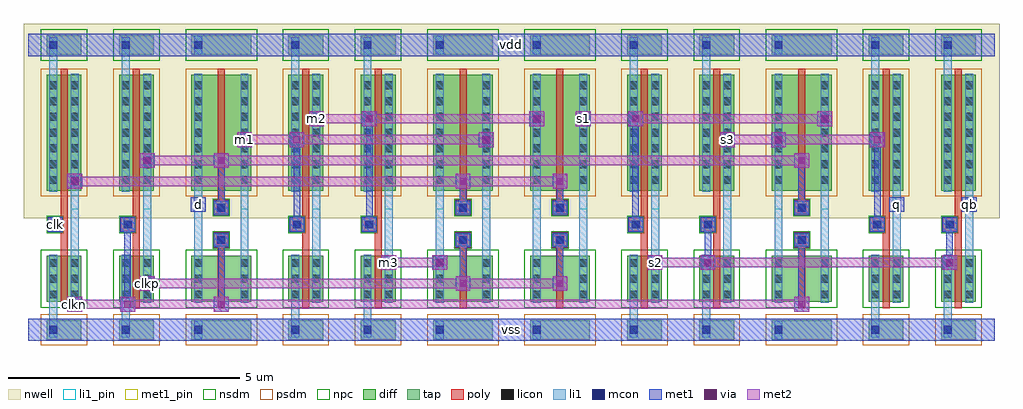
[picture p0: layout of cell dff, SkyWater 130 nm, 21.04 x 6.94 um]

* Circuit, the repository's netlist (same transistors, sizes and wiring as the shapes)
* NGSPICE file created from dff.ext - technology: sky130A

.subckt tgate x y en en_b vdd vss
X0 y en x vss sky130_fd_pr__nfet_01v8 ad=0.57 pd=3.14 as=0.57 ps=3.14 w=1 l=0.15
X1 y en_b x vdd sky130_fd_pr__pfet_01v8 ad=1.425 pd=6.14 as=1.425 ps=6.14 w=2.5 l=0.15
.ends

.subckt inv in out vdd vss
X0 out in vdd vdd sky130_fd_pr__pfet_01v8 ad=0.75 pd=5.6 as=0.75 ps=5.6 w=2.5 l=0.15
X1 out in vss vss sky130_fd_pr__nfet_01v8 ad=0.3 pd=2.6 as=0.3 ps=2.6 w=1 l=0.15
.ends

.subckt dff clk d q qb vdd vss
XXtg1 d m1 clkn clkp vdd vss tgate
XXtg2 m3 m1 clkp clkn vdd vss tgate
XXtg4 s3 s1 clkn clkp vdd vss tgate
XXtg3 m2 s1 clkp clkn vdd vss tgate
XXo1 s3 q vdd vss inv
XXo2 s2 qb vdd vss inv
XXi1 m1 m2 vdd vss inv
XXi2 m2 m3 vdd vss inv
XXi3 s1 s2 vdd vss inv
XXi4 s2 s3 vdd vss inv
XXc1 clk clkn vdd vss inv
XXc2 clkn clkp vdd vss inv
.ends

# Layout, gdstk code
import gdstk
lib = gdstk.Library(unit=1e-6, precision=1e-09)
def R(c, l, rs):  # rectangles x0, y0, x1, y1
    for r in rs: c.add(gdstk.rectangle(r[:2], r[2:], *l))
def A(c, l, x, y, w, h, nx, ny, dx, dy):  # array of equal rectangles
    R(c, l, [(x+i*dx, y+j*dy, x+i*dx+w, y+j*dy+h) for i in range(nx) for j in range(ny)])
nwell = (64, 20)
diff = (65, 20)
tap = (65, 44)
poly = (66, 20)
licon = (66, 44)
li1_pin = (67, 16)
li1 = (67, 20)
mcon = (67, 44)
met1_pin = (68, 16)
met1 = (68, 20)
via = (68, 44)
met2 = (69, 20)
nsdm = (93, 44)
psdm = (94, 20)
npc = (95, 20)

inv = lib.new_cell('inv')
R(inv, nwell, [(-0.1,2.4,1.66,6.6)])
R(inv, diff, [(0.4,0.6,1.15,1.6), (0.4,3,1.15,5.5)])
R(inv, tap, [(0.4,-0.21,1.15,0.21), (0.4,5.93,1.15,6.35)])
R(inv, poly, [(0.7,0.47,0.85,2.1), (0.42,2.1,0.85,2.44), (0.7,2.44,0.85,5.63)])
A(inv, licon, 0.46, 0.675, 0.17, 0.17, 1, 3, 0, 0.34)
A(inv, licon, 0.92, 0.675, 0.17, 0.17, 1, 3, 0, 0.34)
A(inv, licon, 0.46, 3.145, 0.17, 0.17, 1, 7, 0, 0.34)
A(inv, licon, 0.92, 3.145, 0.17, 0.17, 1, 7, 0, 0.34)
R(inv, licon, [(0.46,-0.085,0.63,0.085), (0.5,2.185,0.67,2.355), (0.46,6.055,0.63,6.225)])
R(inv, li1_pin, [(0.42,2.105,0.75,2.435), (0.92,2.6,1.09,2.9)])
R(inv, li1, [(0.46,-0.165,0.63,1.62), (0.92,0.58,1.09,5.52), (0.42,2.105,0.75,2.435), (0.46,2.98,0.63,6.305)])
R(inv, mcon, [(0.46,-0.085,0.63,0.085), (0.46,6.055,0.63,6.225)])
R(inv, met1_pin, [(0,-0.24,1.56,0.24), (0,5.9,1.56,6.38)])
R(inv, met1, [(0,-0.24,1.56,0.24), (0,5.9,1.56,6.38)])
R(inv, nsdm, [(0.275,0.475,1.275,1.725), (0.275,5.805,1.275,6.475)])
R(inv, psdm, [(0.275,-0.335,1.275,0.335), (0.275,2.875,1.275,5.625)])
R(inv, npc, [(0.4,2.085,0.77,2.455)])
inv.add(gdstk.Label('in', (0.585,2.27), layer=67, texttype=5))
inv.add(gdstk.Label('out', (1.005,2.75), layer=67, texttype=5))
inv.add(gdstk.Label('vdd', (0.78,6.14), layer=68, texttype=5))
inv.add(gdstk.Label('vss', (0.78,0), layer=68, texttype=5))

tgate = lib.new_cell('tgate')
R(tgate, nwell, [(-0.1,2.4,2.19,6.6)])
R(tgate, diff, [(0.4,0.6,1.69,1.6), (0.4,3,1.69,5.5)])
R(tgate, tap, [(0.4,-0.21,1.69,0.21), (0.4,5.93,1.69,6.35)])
R(tgate, poly, [(0.97,0.47,1.12,1.77), (0.88,1.77,1.21,2.1), (0.88,2.47,1.21,2.8), (0.97,2.8,1.12,5.63)])
A(tgate, licon, 0.46, 0.675, 0.17, 0.17, 1, 3, 0, 0.34)
A(tgate, licon, 1.46, 0.675, 0.17, 0.17, 1, 3, 0, 0.34)
A(tgate, licon, 0.46, 3.145, 0.17, 0.17, 1, 7, 0, 0.34)
A(tgate, licon, 1.46, 3.145, 0.17, 0.17, 1, 7, 0, 0.34)
R(tgate, licon, [(0.46,-0.085,0.63,0.085), (0.96,1.85,1.13,2.02), (0.96,2.55,1.13,2.72), (0.46,6.055,0.63,6.225)])
R(tgate, li1_pin, [(0.88,1.8,1.21,2.07), (0.88,2.5,1.21,2.77), (0.46,2.6,0.63,2.9), (1.46,2.6,1.63,2.9)])
R(tgate, li1, [(0.46,-0.2,0.63,0.2), (0.46,0.58,0.63,5.52), (1.46,0.58,1.63,5.52), (0.88,1.8,1.21,2.07), (0.88,2.5,1.21,2.77), (0.46,5.94,0.63,6.34)])
R(tgate, mcon, [(0.46,-0.085,0.63,0.085), (0.46,6.055,0.63,6.225)])
R(tgate, met1_pin, [(0,-0.24,2.09,0.24), (0,5.9,2.09,6.38)])
R(tgate, met1, [(0,-0.24,2.09,0.24), (0,5.9,2.09,6.38)])
R(tgate, nsdm, [(0.275,0.475,1.815,1.725), (0.275,5.805,1.815,6.475)])
R(tgate, psdm, [(0.275,-0.335,1.815,0.335), (0.275,2.875,1.815,5.625)])
R(tgate, npc, [(0.86,1.75,1.23,2.12), (0.86,2.45,1.23,2.82)])
tgate.add(gdstk.Label('x', (0.545,2.75), layer=67, texttype=5))
tgate.add(gdstk.Label('y', (1.545,2.75), layer=67, texttype=5))
tgate.add(gdstk.Label('en', (1.045,1.935), layer=67, texttype=5))
tgate.add(gdstk.Label('en_b', (1.045,2.635), layer=67, texttype=5))
tgate.add(gdstk.Label('vdd', (1.045,6.14), layer=68, texttype=5))
tgate.add(gdstk.Label('vss', (1.045,0), layer=68, texttype=5))

dff = lib.new_cell('dff')
R(dff, li1, [(0.92,0.465,1.09,0.635), (2.48,0.915,2.65,1.085), (7.69,1.365,7.86,1.535), (8.79,1.365,8.96,1.535), (13.43,1.365,13.6,1.535), (4.08,1.85,4.25,2.02), (9.29,1.85,9.46,2.02), (11.38,1.85,11.55,2.02), (16.59,1.85,16.76,2.02), (0.5,2.185,0.67,2.355), (2.06,2.185,2.23,2.355), (5.71,2.185,5.88,2.355), (7.27,2.185,7.44,2.355), (13.01,2.185,13.18,2.355), (14.57,2.185,14.74,2.355), (18.22,2.185,18.39,2.355), (19.78,2.185,19.95,2.355), (4.08,2.55,4.25,2.72), (9.29,2.55,9.46,2.72), (11.38,2.55,11.55,2.72), (16.59,2.55,16.76,2.72), (3.58,2.615,3.75,2.785), (18.64,2.615,18.81,2.785), (20.2,2.615,20.37,2.785), (0.92,3.115,1.09,3.285), (2.48,3.565,2.65,3.735), (4.58,4.015,4.75,4.185), (9.79,4.015,9.96,4.185), (14.99,4.015,15.16,4.185), (16.09,4.015,16.26,4.185), (6.13,4.465,6.3,4.635), (10.88,4.465,11.05,4.635), (11.88,4.465,12.05,4.635), (17.09,4.465,17.26,4.635)])
R(dff, mcon, [(0.92,0.465,1.09,0.635), (2.48,0.915,2.65,1.085), (7.69,1.365,7.86,1.535), (8.79,1.365,8.96,1.535), (13.43,1.365,13.6,1.535), (4.08,1.85,4.25,2.02), (9.29,1.85,9.46,2.02), (11.38,1.85,11.55,2.02), (16.59,1.85,16.76,2.02), (0.5,2.185,0.67,2.355), (2.06,2.185,2.23,2.355), (5.71,2.185,5.88,2.355), (7.27,2.185,7.44,2.355), (13.01,2.185,13.18,2.355), (14.57,2.185,14.74,2.355), (18.22,2.185,18.39,2.355), (19.78,2.185,19.95,2.355), (4.08,2.55,4.25,2.72), (9.29,2.55,9.46,2.72), (11.38,2.55,11.55,2.72), (16.59,2.55,16.76,2.72), (3.58,2.615,3.75,2.785), (18.64,2.615,18.81,2.785), (20.2,2.615,20.37,2.785), (0.92,3.115,1.09,3.285), (2.48,3.565,2.65,3.735), (4.58,4.015,4.75,4.185), (9.79,4.015,9.96,4.185), (14.99,4.015,15.16,4.185), (16.09,4.015,16.26,4.185), (6.13,4.465,6.3,4.635), (10.88,4.465,11.05,4.635), (11.88,4.465,12.05,4.635), (17.09,4.465,17.26,4.635)])
R(dff, met1_pin, [(0,-0.24,20.84,0.24), (0.425,2.11,0.745,2.43), (3.505,2.54,3.825,2.86), (18.565,2.54,18.885,2.86), (20.125,2.54,20.445,2.86), (0,5.9,20.84,6.38)])
R(dff, met1, [(0,-0.24,20.84,0.24), (0.845,0.39,1.165,0.71), (1.985,0.39,2.305,0.71), (4.005,0.39,4.325,0.71), (16.515,0.39,16.835,0.71), (2.075,0.71,2.215,2.11), (4.095,0.71,4.235,1.775), (16.605,0.71,16.745,1.775), (2.405,0.84,2.725,1.16), (9.215,0.84,9.535,1.16), (11.305,0.84,11.625,1.16), (9.305,1.16,9.445,1.775), (11.395,1.16,11.535,1.775), (7.615,1.29,7.935,1.61), (8.715,1.29,9.035,1.61), (13.355,1.29,13.675,1.61), (14.495,1.29,14.815,1.61), (19.705,1.29,20.025,1.61), (14.585,1.61,14.725,2.11), (19.795,1.61,19.935,2.11), (4.005,1.775,4.325,2.095), (9.215,1.775,9.535,2.095), (11.305,1.775,11.625,2.095), (16.515,1.775,16.835,2.095), (0.425,2.11,0.745,2.43), (1.985,2.11,2.305,2.43), (5.635,2.11,5.955,2.43), (7.195,2.11,7.515,2.43), (12.935,2.11,13.255,2.43), (14.495,2.11,14.815,2.43), (18.145,2.11,18.465,2.43), (19.705,2.11,20.025,2.43), (5.725,2.43,5.865,3.94), (7.285,2.43,7.425,4.39), (13.025,2.43,13.165,4.39), (18.235,2.43,18.375,3.94), (4.005,2.475,4.325,2.795), (9.215,2.475,9.535,2.795), (11.305,2.475,11.625,2.795), (16.515,2.475,16.835,2.795), (3.505,2.54,3.825,2.86), (18.565,2.54,18.885,2.86), (20.125,2.54,20.445,2.86), (4.095,2.795,4.235,3.49), (9.305,2.795,9.445,3.04), (11.395,2.795,11.535,3.04), (16.605,2.795,16.745,3.49), (0.845,3.04,1.165,3.36), (9.215,3.04,9.535,3.36), (11.305,3.04,11.625,3.36), (2.405,3.49,2.725,3.81), (4.005,3.49,4.325,3.81), (16.515,3.49,16.835,3.81), (4.505,3.94,4.825,4.26), (5.635,3.94,5.955,4.26), (9.715,3.94,10.035,4.26), (14.915,3.94,15.235,4.26), (16.015,3.94,16.335,4.26), (18.145,3.94,18.465,4.26), (6.055,4.39,6.375,4.71), (7.195,4.39,7.515,4.71), (10.805,4.39,11.125,4.71), (11.805,4.39,12.125,4.71), (12.935,4.39,13.255,4.71), (17.015,4.39,17.335,4.71), (0,5.9,20.84,6.38)])
R(dff, via, [(0.93,0.475,1.08,0.625), (2.07,0.475,2.22,0.625), (4.09,0.475,4.24,0.625), (16.6,0.475,16.75,0.625), (2.49,0.925,2.64,1.075), (9.3,0.925,9.45,1.075), (11.39,0.925,11.54,1.075), (7.7,1.375,7.85,1.525), (8.8,1.375,8.95,1.525), (13.44,1.375,13.59,1.525), (14.58,1.375,14.73,1.525), (19.79,1.375,19.94,1.525), (0.93,3.125,1.08,3.275), (9.3,3.125,9.45,3.275), (11.39,3.125,11.54,3.275), (2.49,3.575,2.64,3.725), (4.09,3.575,4.24,3.725), (16.6,3.575,16.75,3.725), (4.59,4.025,4.74,4.175), (5.72,4.025,5.87,4.175), (9.8,4.025,9.95,4.175), (15,4.025,15.15,4.175), (16.1,4.025,16.25,4.175), (18.23,4.025,18.38,4.175), (6.14,4.475,6.29,4.625), (7.28,4.475,7.43,4.625), (10.89,4.475,11.04,4.625), (11.89,4.475,12.04,4.625), (13.02,4.475,13.17,4.625), (17.1,4.475,17.25,4.625)])
R(dff, met2, [(0.845,0.39,1.165,0.45), (1.985,0.39,2.305,0.45), (4.005,0.39,4.325,0.45), (16.515,0.39,16.835,0.45), (0.845,0.45,16.835,0.65), (0.845,0.65,1.165,0.71), (1.985,0.65,2.305,0.71), (4.005,0.65,4.325,0.71), (16.515,0.65,16.835,0.71), (2.405,0.84,2.725,0.9), (9.215,0.84,9.535,0.9), (11.305,0.84,11.625,0.9), (2.405,0.9,11.625,1.1), (2.405,1.1,2.725,1.16), (9.215,1.1,9.535,1.16), (11.305,1.1,11.625,1.16), (7.615,1.29,7.935,1.35), (8.715,1.29,9.035,1.35), (13.355,1.29,13.675,1.35), (14.495,1.29,14.815,1.35), (19.705,1.29,20.025,1.35), (7.615,1.35,9.035,1.55), (13.355,1.35,20.025,1.55), (7.615,1.55,7.935,1.61), (8.715,1.55,9.035,1.61), (13.355,1.55,13.675,1.61), (14.495,1.55,14.815,1.61), (19.705,1.55,20.025,1.61), (0.845,3.04,1.165,3.1), (9.215,3.04,9.535,3.1), (11.305,3.04,11.625,3.1), (0.845,3.1,11.625,3.3), (0.845,3.3,1.165,3.36), (9.215,3.3,9.535,3.36), (11.305,3.3,11.625,3.36), (2.405,3.49,2.725,3.55), (4.005,3.49,4.325,3.55), (16.515,3.49,16.835,3.55), (2.405,3.55,16.835,3.75), (2.405,3.75,2.725,3.81), (4.005,3.75,4.325,3.81), (16.515,3.75,16.835,3.81), (4.505,3.94,4.825,4), (5.635,3.94,5.955,4), (9.715,3.94,10.035,4), (14.915,3.94,15.235,4), (16.015,3.94,16.335,4), (18.145,3.94,18.465,4), (4.505,4,10.035,4.2), (14.915,4,18.465,4.2), (4.505,4.2,4.825,4.26), (5.635,4.2,5.955,4.26), (9.715,4.2,10.035,4.26), (14.915,4.2,15.235,4.26), (16.015,4.2,16.335,4.26), (18.145,4.2,18.465,4.26), (6.055,4.39,6.375,4.45), (7.195,4.39,7.515,4.45), (10.805,4.39,11.125,4.45), (11.805,4.39,12.125,4.45), (12.935,4.39,13.255,4.45), (17.015,4.39,17.335,4.45), (6.055,4.45,11.125,4.65), (11.805,4.45,17.335,4.65), (6.055,4.65,6.375,4.71), (7.195,4.65,7.515,4.71), (10.805,4.65,11.125,4.71), (11.805,4.65,12.125,4.71), (12.935,4.65,13.255,4.71), (17.015,4.65,17.335,4.71)])
dff.add(gdstk.Reference(inv, (0,0)))
dff.add(gdstk.Reference(inv, (1.56,0)))
dff.add(gdstk.Reference(tgate, (3.12,0)))
dff.add(gdstk.Reference(inv, (5.21,0)))
dff.add(gdstk.Reference(inv, (6.77,0)))
dff.add(gdstk.Reference(tgate, (8.33,0)))
dff.add(gdstk.Reference(tgate, (10.42,0)))
dff.add(gdstk.Reference(inv, (12.51,0)))
dff.add(gdstk.Reference(inv, (14.07,0)))
dff.add(gdstk.Reference(tgate, (15.63,0)))
dff.add(gdstk.Reference(inv, (17.72,0)))
dff.add(gdstk.Reference(inv, (19.28,0)))
dff.add(gdstk.Label('clkn', (1.005,0.55), layer=69, texttype=5))
dff.add(gdstk.Label('clkp', (2.565,1), layer=69, texttype=5))
dff.add(gdstk.Label('m1', (4.665,4.1), layer=69, texttype=5))
dff.add(gdstk.Label('m2', (6.215,4.55), layer=69, texttype=5))
dff.add(gdstk.Label('m3', (7.775,1.45), layer=69, texttype=5))
dff.add(gdstk.Label('s1', (11.965,4.55), layer=69, texttype=5))
dff.add(gdstk.Label('s2', (13.515,1.45), layer=69, texttype=5))
dff.add(gdstk.Label('s3', (15.075,4.1), layer=69, texttype=5))
dff.add(gdstk.Label('clk', (0.585,2.27), layer=68, texttype=5))
dff.add(gdstk.Label('d', (3.665,2.7), layer=68, texttype=5))
dff.add(gdstk.Label('q', (18.725,2.7), layer=68, texttype=5))
dff.add(gdstk.Label('qb', (20.285,2.7), layer=68, texttype=5))
dff.add(gdstk.Label('vdd', (10.42,6.14), layer=68, texttype=5))
dff.add(gdstk.Label('vss', (10.42,0), layer=68, texttype=5))

lib.write_gds('dff.gds')
